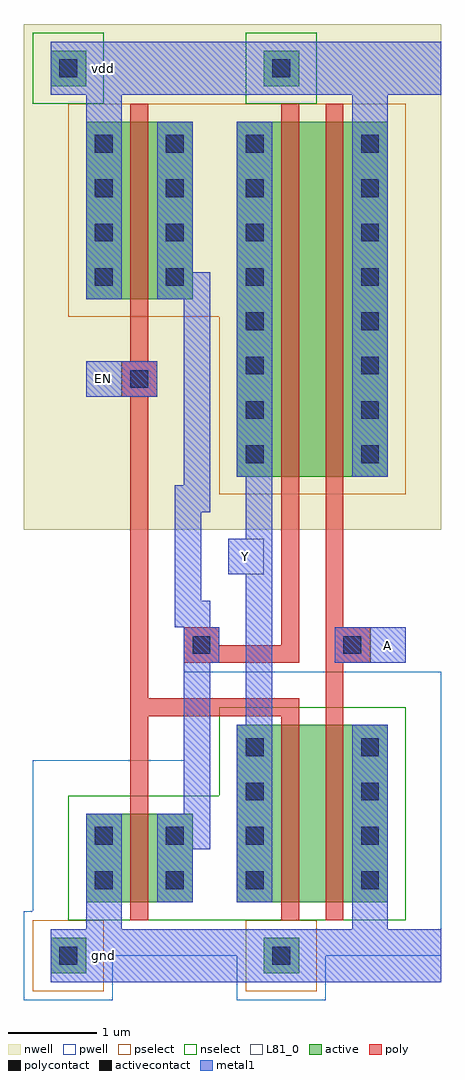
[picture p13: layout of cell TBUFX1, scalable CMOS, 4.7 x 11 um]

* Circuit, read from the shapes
.subckt TBUFX1 A EN Y gnd vdd
M1 n1 EN gnd gnd nfet w=1u l=0.2u
M2 n2 EN Y gnd nfet w=2u l=0.2u
M3 gnd A n2 gnd nfet w=2u l=0.2u
M4 n1 EN vdd vdd pfet w=2u l=0.2u
M5 n3 n1 Y vdd pfet w=4u l=0.2u
M6 vdd A n3 vdd pfet w=4u l=0.2u
.ends

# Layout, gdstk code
import gdstk
lib = gdstk.Library(unit=1e-6, precision=1e-09)
def R(c, l, rs):  # rectangles x0, y0, x1, y1
    for r in rs: c.add(gdstk.rectangle(r[:2], r[2:], *l))
def A(c, l, x, y, w, h, nx, ny, dx, dy):  # array of equal rectangles
    R(c, l, [(x+i*dx, y+j*dy, x+i*dx+w, y+j*dy+h) for i in range(nx) for j in range(ny)])
pwell = (41, 0)
nwell = (42, 0)
active = (43, 0)
pselect = (44, 0)
nselect = (45, 0)
poly = (46, 0)
polycontact = (47, 0)
activecontact = (48, 0)
metal1 = (49, 0)
L81_0 = (81, 0)

tbufx1 = lib.new_cell('TBUFX1')
R(tbufx1, pwell, [(-0.5,-0.5,0.5,0), (1.9,-0.5,2.9,0), (-0.5,0,4.2,0.5), (-0.4,0.5,4.2,2.2), (1.3,2.2,4.2,3.2)])
R(tbufx1, nwell, [(-0.5,4.8,4.2,10.5)])
R(tbufx1, active, [(-0.2,-0.2,0.2,0.2), (2.2,-0.2,2.6,0.2), (0.2,0.6,1.4,1.6), (1.9,0.6,3.6,2.6), (1.9,5.4,3.6,9.4), (0.2,7.4,1.4,9.4), (-0.2,9.8,0.2,10.2), (2.2,9.8,2.6,10.2)])
R(tbufx1, pselect, [(-0.4,-0.4,0.4,0.4), (2,-0.4,2.8,0.4), (1.7,5.2,3.8,7.2), (0,7.2,3.8,9.6)])
R(tbufx1, nselect, [(0,0.4,3.8,1.8), (1.7,1.8,3.8,2.8), (-0.4,9.6,0.4,10.4), (2,9.6,2.8,10.4)])
R(tbufx1, poly, [(0.7,0.4,0.9,2.7), (2.4,0.4,2.6,2.7), (2.9,0.4,3.1,3.3), (0.7,2.7,2.6,2.9), (0.7,2.9,0.9,6.3), (1.3,3.3,2.6,3.5), (2.9,3.3,3.4,3.7), (1.3,3.5,1.7,3.7), (2.4,3.5,2.6,9.6), (2.9,3.7,3.1,9.6), (0.6,6.3,1,6.7), (0.7,6.7,0.9,9.6)])
R(tbufx1, polycontact, [(1.4,3.4,1.6,3.6), (3.1,3.4,3.3,3.6), (0.7,6.4,0.9,6.6)])
A(tbufx1, activecontact, 2, 0.75, 0.2, 0.2, 1, 4, 0, 0.5)
A(tbufx1, activecontact, 3.3, 0.75, 0.2, 0.2, 1, 4, 0, 0.5)
A(tbufx1, activecontact, 2, 5.55, 0.2, 0.2, 1, 8, 0, 0.5)
A(tbufx1, activecontact, 3.3, 5.55, 0.2, 0.2, 1, 8, 0, 0.5)
A(tbufx1, activecontact, 0.3, 7.55, 0.2, 0.2, 1, 4, 0, 0.5)
A(tbufx1, activecontact, 1.1, 7.55, 0.2, 0.2, 1, 4, 0, 0.5)
R(tbufx1, activecontact, [(-0.1,-0.1,0.1,0.1), (2.3,-0.1,2.5,0.1), (0.3,0.75,0.5,0.95), (1.1,0.75,1.3,0.95), (0.3,1.25,0.5,1.45), (1.1,1.25,1.3,1.45), (-0.1,9.9,0.1,10.1), (2.3,9.9,2.5,10.1)])
R(tbufx1, metal1, [(-0.2,-0.3,4.2,0.3), (0.2,0.3,0.6,1.6), (3.2,0.3,3.6,2.6), (1,0.6,1.4,1.2), (1.9,0.6,2.3,2.6), (1,1.2,1.6,1.6), (1.3,1.6,1.6,3.3), (2,2.6,2.3,4.3), (1.3,3.3,1.7,3.7), (3,3.3,3.8,3.7), (1.2,3.7,1.6,4), (1.2,4,1.5,5), (1.8,4.3,2.3,4.7), (2,4.7,2.3,5.4), (1.2,5,1.6,5.3), (1.3,5.3,1.6,7.4), (1.9,5.4,2.3,9.4), (3.2,5.4,3.6,9.7), (0.2,6.3,1,6.7), (0.2,7.4,0.6,9.7), (1,7.4,1.6,7.7), (1,7.7,1.4,9.4), (-0.2,9.7,4.2,10.3)])
R(tbufx1, L81_0, [(3.4,3.3,3.8,3.7), (1.8,4.3,2.2,4.7), (0.2,6.3,0.6,6.7)])
tbufx1.add(gdstk.Label('vdd', (0.4,10), layer=49, texttype=0))
tbufx1.add(gdstk.Label('gnd', (0.4,0), layer=49, texttype=0))
tbufx1.add(gdstk.Label('EN', (0.4,6.5), layer=49, texttype=0))
tbufx1.add(gdstk.Label('A', (3.6,3.5), layer=49, texttype=0))
tbufx1.add(gdstk.Label('Y', (2,4.5), layer=49, texttype=0))

lib.write_gds('TBUFX1.gds')
